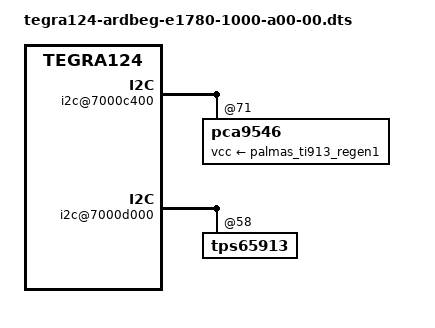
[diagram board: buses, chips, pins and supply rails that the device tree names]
/*
 * arch/arm/boot/dts/tegra124-ardbeg-e1780-1000-a00-00.dts
 *
 * Copyright (c) 2014, NVIDIA CORPORATION.  All rights reserved.
 *
 * This program is free software; you can redistribute it and/or modify
 * it under the terms of the GNU General Public License as published by
 * the Free Software Foundation; either version 2 of the License, or
 * (at your option) any later version.
 *
 * This program is distributed in the hope that it will be useful, but WITHOUT
 * ANY WARRANTY; without even the implied warranty of MERCHANTABILITY or
 * FITNESS FOR A PARTICULAR PURPOSE.  See the GNU General Public License for
 * more details.
 *
 * You should have received a copy of the GNU General Public License along
 * with this program; if not, write to the Free Software Foundation, Inc.,
 * 51 Franklin Street, Fifth Floor, Boston, MA  02110-1301, USA.
 */
/dts-v1/;

#include "tegra124-ardbeg-e1780-1000-a00-common.dtsi"
#include "tegra124-platforms/tegra124-ardbeg-pmic-e1735-1000-a00.dtsi"
#include "tegra124-platforms/tegra124-ardbeg-fixed-e1735-1000-a00.dtsi"
#include "tegra124-platforms/tegra124-e1780-e1735-dfll.dtsi"

/ {
	nvidia,boardids = "1780:1000:00:B:3;1735:1000:01:D:3";
	nvidia,dtsfilename = __FILE__;
	nvidia,proc-boardid = "1780:1000:00:B:3";
	nvidia,pmu-boardid = "1735:1000:01:D:3";
	host1x {
		/* tegradc.0 */
		dc@54200000 {
			avdd_dsi_csi-supply = <&palams_ldo4>;
			avdd_lcd-supply = <&ti913_gpio3>;
			dvdd_lcd-supply = <&ti913_gpio7>;
			vdd_lcd_bl-supply = <&palams_ldo4>;
			vdd_lcd_bl_en-supply = <&lcd_bl_en>;
		};

		/* tegradc.1 */
		dc@54240000 {
			avdd_hdmi-supply = <&palmas_smps9>;
			avdd_hdmi_pll-supply = <&palmas_smps9>;
			vdd_hdmi_5v0-supply = <&vdd_hdmi_5v0>;
		};

		vi {
			avdd_dsi_csi-supply = <&palams_ldo4>;
		};
	};

	i2c@7000c400 {
		pca9546@71 {
			vcc-supply = <&palmas_ti913_regen1>;
		};
	};

	i2c@7000d000 {
		tps65913@58 {
			extcon {
				 extcon-name = "palmas-extcon";
			};
		};
	};
};
